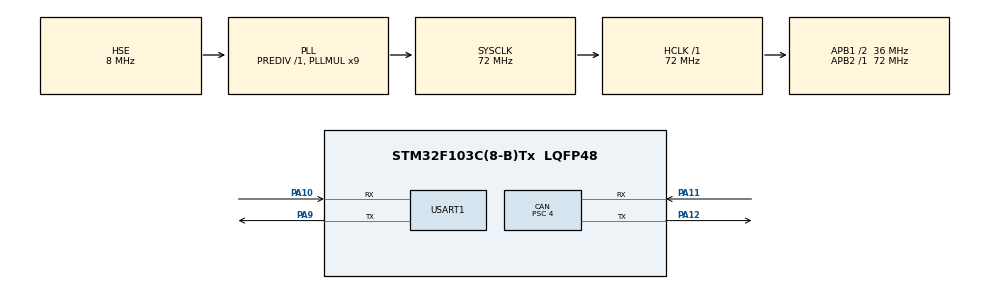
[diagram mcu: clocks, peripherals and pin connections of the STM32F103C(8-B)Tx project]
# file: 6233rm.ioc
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CAN.ABOM=ENABLE
CAN.BS1=CAN_BS1_6TQ
CAN.BS2=CAN_BS2_2TQ
CAN.CalculateBaudRate=1000000
CAN.CalculateTimeBit=1000
CAN.CalculateTimeQuantum=111.11111111111111
CAN.Prescaler=4
Dma.Request0=USART1_RX
Dma.Request1=USART1_TX
Dma.USART1_RX.0.Direction=DMA_PERIPH_TO_MEMORY
Dma.USART1_RX.0.Instance=DMA1_Channel5
Dma.USART1_RX.0.MemDataAlignment=DMA_MDATAALIGN_BYTE
Dma.USART1_RX.0.MemInc=DMA_MINC_ENABLE
Dma.USART1_RX.0.Mode=DMA_NORMAL
Dma.USART1_RX.0.PeriphDataAlignment=DMA_PDATAALIGN_BYTE
Dma.USART1_RX.0.PeriphInc=DMA_PINC_DISABLE
Dma.USART1_RX.0.Priority=DMA_PRIORITY_LOW
Dma.USART1_TX.1.Direction=DMA_MEMORY_TO_PERIPH
Dma.USART1_TX.1.Instance=DMA1_Channel4
Dma.USART1_TX.1.MemDataAlignment=DMA_MDATAALIGN_BYTE
Dma.USART1_TX.1.MemInc=DMA_MINC_ENABLE
Dma.USART1_TX.1.Mode=DMA_NORMAL
Dma.USART1_TX.1.PeriphDataAlignment=DMA_PDATAALIGN_BYTE
Dma.USART1_TX.1.PeriphInc=DMA_PINC_DISABLE
Dma.USART1_TX.1.Priority=DMA_PRIORITY_LOW
Mcu.Family=STM32F1
Mcu.Name=STM32F103C(8-B)Tx
Mcu.Package=LQFP48
NVIC.CAN1_RX1_IRQn=true\:1\:0\:true\:false\:true\:true\:true\:true
NVIC.DMA1_Channel4_IRQn=true\:0\:0\:false\:false\:true\:false\:true\:true
NVIC.DMA1_Channel5_IRQn=true\:0\:0\:false\:false\:true\:false\:true\:true
NVIC.PriorityGroup=NVIC_PRIORITYGROUP_4
NVIC.TIM3_IRQn=true\:0\:0\:false\:false\:true\:true\:true\:true
NVIC.USART1_IRQn=true\:3\:0\:true\:false\:true\:false\:true\:true
PA10.Mode=Asynchronous
PA10.Signal=USART1_RX
PA11.Mode=CAN_Activate
PA11.Signal=CAN_RX
PA12.Mode=CAN_Activate
PA12.Signal=CAN_TX
PA13.Mode=Serial_Wire
PA13.Signal=SYS_JTMS-SWDIO
PA14.Mode=Serial_Wire
PA14.Signal=SYS_JTCK-SWCLK
PA9.Mode=Asynchronous
PA9.Signal=USART1_TX
PD0-OSC_IN.Mode=HSE-External-Oscillator
PD0-OSC_IN.Signal=RCC_OSC_IN
PD1-OSC_OUT.Mode=HSE-External-Oscillator
PD1-OSC_OUT.Signal=RCC_OSC_OUT
ProjectManager.HeapSize=0x200
ProjectManager.StackSize=0x400
ProjectManager.TargetToolchain=CMake
RCC.AHBFreq_Value=72000000
RCC.APB1CLKDivider=RCC_HCLK_DIV2
RCC.APB1Freq_Value=36000000
RCC.APB1TimFreq_Value=72000000
RCC.APB2Freq_Value=72000000
RCC.APB2TimFreq_Value=72000000
RCC.HCLKFreq_Value=72000000
RCC.PLLMUL=RCC_PLL_MUL9
RCC.PLLSourceVirtual=RCC_PLLSOURCE_HSE
RCC.SYSCLKFreq_VALUE=72000000
RCC.SYSCLKSource=RCC_SYSCLKSOURCE_PLLCLK
RCC.USBFreq_Value=72000000
TIM3.Period=999
TIM3.Prescaler=71
USART1.VirtualMode=VM_ASYNC
VP_TIM3_VS_ClockSourceINT.Mode=Internal
board=custom

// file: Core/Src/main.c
/* USER CODE BEGIN Header */
/**
  ******************************************************************************
  * @file           : main.c
  * @brief          : Main program body
  ******************************************************************************
  * @attention
  *
  * Copyright (c) 2026 STMicroelectronics.
  * All rights reserved.
  *
  * This software is licensed under terms that can be found in the LICENSE file
  * in the root directory of this software component.
  * If no LICENSE file comes with this software, it is provided AS-IS.
  *
  ******************************************************************************
  */
/* USER CODE END Header */
#include "main.h"
#include "can.h"
#include "dma.h"
#include "tim.h"
#include "usart.h"
#include "gpio.h"

/* USER CODE BEGIN Includes */
#include "motor_6623.h"
#include "telemetry.h"
#include "angle.h"
#include<stdio.h>
#include<string.h>

#include "pid.h"
#include "control.h"
#include "speed.h"
#include "cascade.h"
/* USER CODE END Includes */

void SystemClock_Config(void);

/* USER CODE BEGIN 0 */
void UART_Report(void)
{
  static uint32_t print_time = 0;

  if (HAL_GetTick() - print_time >= 1)
  {
    char message[96];

    int16_t cmd = (int16_t)((g_tx[0] << 8) | g_tx[1]);
    /* ===== VOFA+ FireWater 协议（6 通道）=====
       每帧：实际角度, 目标角度, 实际转速, 目标转速, 电流指令, 电流反馈
       例：  174.620,174.600,0.020,12.500,68,65
       VOFA+ 设置：协议 FireWater，通道数 6
          CH1 = cont      实际角度（连续角，含多圈）
          CH2 = tgt       目标角度
          CH3 = rpm       实际转速
          CH4 = rpm_tgt   目标转速（速度环指令）
          CH5 = cmd       电流指令（控制器算的，可能饱和）
          CH6 = cur       电流反馈（电机回报的实际相电流）
       说明：位置单环（模式 0）没有速度环，CH4 恒为 0 属正常；
             串级模式下 CH4 = 位置环输出的转速目标；
             速度单环（模式 1）下 CH4 = 设定的目标转速。 */
    sprintf(message, "%.3f,%.3f,%.3f,%.3f,%d,%d\n",
            g_angle_cont, g_pos_target, g_omega_rpm, g_rpm_target,
            (int)cmd, (int)g_current);

    HAL_UART_Transmit(&huart1, (uint8_t *)message, strlen(message), HAL_MAX_DELAY);
    print_time = HAL_GetTick();
  }
}
/* USER CODE END 0 */

int main(void)
{

  /* MCU Configuration--------------------------------------------------------*/

  /* Reset of all peripherals, Initializes the Flash interface and the Systick. */
  HAL_Init();

  /* Configure the system clock */
  SystemClock_Config();

  /* Initialize all configured peripherals */
  MX_GPIO_Init();
  MX_DMA_Init();
  MX_TIM3_Init();
  MX_USART1_UART_Init();
  MX_CAN_Init();
  /* USER CODE BEGIN 2 */
  Motor_Set_Cmd(0);          /* 先保证输出 0 */
  Control_Init();            /* 位置环参数初始化（dt=0.001，alpha=0.27，先失能） */
  HAL_TIM_Base_Start_IT(&htim3);
  /* USER CODE END 2 */

  /* Infinite loop */
  /* USER CODE BEGIN WHILE */
  while (1)
  {
    UART_Report();

#if (CTRL_OPENLOOP == 1)
    Test_play();               /* 开环采集（F-05）：主循环驱动电流阶跃序列 */
#else
    Control_Task();            /* 闭环：启动 + 阶跃（上电 3s 使能，再 2s 做阶跃）*/
#endif

    /* USER CODE END WHILE */

  }
}

void SystemClock_Config(void)
{
  RCC_OscInitTypeDef RCC_OscInitStruct = {0};
  RCC_ClkInitTypeDef RCC_ClkInitStruct = {0};

  /** Initializes the RCC Oscillators according to the specified parameters
  * in the RCC_OscInitTypeDef structure.
  */
  RCC_OscInitStruct.OscillatorType = RCC_OSCILLATORTYPE_HSE;
  RCC_OscInitStruct.HSEState = RCC_HSE_ON;
  RCC_OscInitStruct.HSEPredivValue = RCC_HSE_PREDIV_DIV1;
  RCC_OscInitStruct.HSIState = RCC_HSI_ON;
  RCC_OscInitStruct.PLL.PLLState = RCC_PLL_ON;
  RCC_OscInitStruct.PLL.PLLSource = RCC_PLLSOURCE_HSE;
  RCC_OscInitStruct.PLL.PLLMUL = RCC_PLL_MUL9;
  if (HAL_RCC_OscConfig(&RCC_OscInitStruct) != HAL_OK)
  {
    Error_Handler();
  }

  /** Initializes the CPU, AHB and APB buses clocks
  */
  RCC_ClkInitStruct.ClockType = RCC_CLOCKTYPE_HCLK|RCC_CLOCKTYPE_SYSCLK
                              |RCC_CLOCKTYPE_PCLK1|RCC_CLOCKTYPE_PCLK2;
  RCC_ClkInitStruct.SYSCLKSource = RCC_SYSCLKSOURCE_PLLCLK;
  RCC_ClkInitStruct.AHBCLKDivider = RCC_SYSCLK_DIV1;
  RCC_ClkInitStruct.APB1CLKDivider = RCC_HCLK_DIV2;
  RCC_ClkInitStruct.APB2CLKDivider = RCC_HCLK_DIV1;

  if (HAL_RCC_ClockConfig(&RCC_ClkInitStruct, FLASH_LATENCY_2) != HAL_OK)
  {
    Error_Handler();
  }
}

/* USER CODE BEGIN 4 */
void HAL_TIM_PeriodElapsedCallback(TIM_HandleTypeDef *htim)
{
  if (htim->Instance != TIM3) return;

  Angle_Update();

#if (CTRL_OPENLOOP == 0)
  POS_P_UPDATE();          /* 开环采集时不调用，控制层完全不碰输出 */
#endif

  if (CAN_Send(0x1FFu, g_tx) == 0u) g_tx_ok++;
  else                              g_tx_fail++;

  can_echo();              /* 0x302 @1 kHz、0x300 @100 ms */
}

/* USER CODE END 4 */

void Error_Handler(void)
{
  __disable_irq();
  while (1)
  {
  }
}
